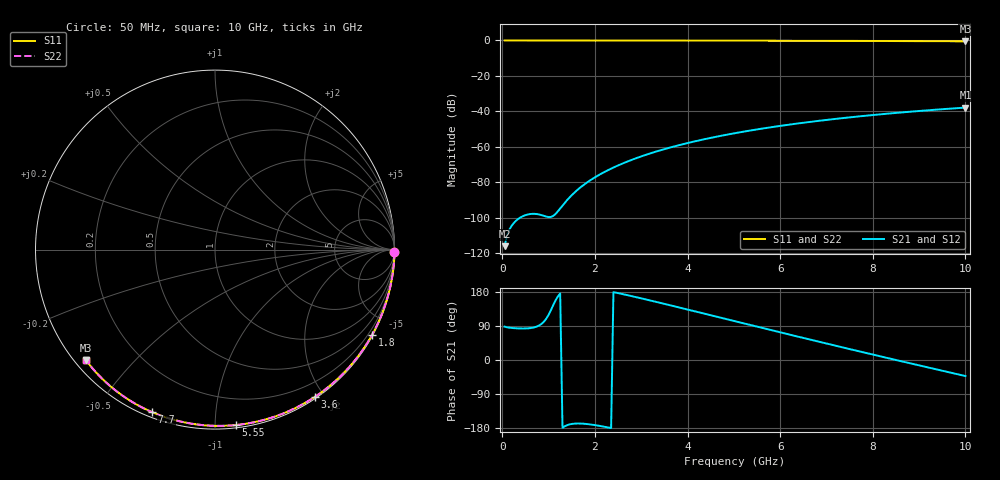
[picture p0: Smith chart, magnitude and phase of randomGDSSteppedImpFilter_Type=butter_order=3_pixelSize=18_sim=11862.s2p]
! freq	dB(S11)	phase(S11)	dB(S12)	phase(S12)
!  dB(S21)	phase(S21)	dB(S22)	phase(S22)
!S-par simulation data
#  GHz  S  DB  R 50
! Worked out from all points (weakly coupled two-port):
!   200 points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, 50 MHz to 10 GHz, reference 50 ohm
!   highest |S21| = -37.82 dB at 10 GHz (marker M1); lowest = -115.9 dB at 50 MHz (marker M2)
!   lowest |S11| = -0.5 dB at 10 GHz (marker M3), VSWR 36.78, Z = 1.55 - j18.5 ohm
!   |S11| at or under -10 dB: nowhere
!   |S22| runs from -0.5 to 0.0 dB; largest |S21 - S12| = 0
!   S11 on the Smith chart (normalised r, x): 50 MHz: open; 1.8 GHz: 0.03, -3.93; 3.6 GHz: 0.02, -1.89; 5.55 GHz: 0.02, -1.13; 7.7 GHz: 0.02, -0.69; 10 GHz: 0.03, -0.37
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0.05  -0.00 -0.8  -115.89 88.0  -115.89 88.0  -0.00 -0.8
0.45  -0.01 -7.3  -98.92 83.1  -98.92 83.1  -0.01 -7.3
0.9  -0.02 -14.4  -98.82 101.3  -98.82 101.3  -0.02 -14.4
1.75  -0.04 -27.8  -81.52 -168.1  -81.52 -168.1  -0.04 -27.8
1.8  -0.04 -28.6  -80.56 -168.7  -80.56 -168.7  -0.04 -28.6
1.85  -0.04 -29.4  -79.64 -169.3  -79.64 -169.3  -0.04 -29.4
2.05  -0.04 -32.5  -76.34 -172.8  -76.34 -172.8  -0.04 -32.5
2.25  -0.05 -35.5  -73.49 -177.2  -73.49 -177.2  -0.05 -35.5
2.55  -0.05 -40.1  -69.84 175.2  -69.84 175.2  -0.05 -40.1
2.95  -0.06 -46.2  -65.78 164.2  -65.78 164.2  -0.06 -46.2
3.4  -0.07 -52.9  -61.98 151.1  -61.98 151.1  -0.07 -52.9
3.6  -0.08 -55.8  -60.49 145.2  -60.49 145.2  -0.08 -55.8
3.9  -0.08 -60.2  -58.44 136.2  -58.44 136.2  -0.08 -60.2
4.3  -0.09 -65.9  -56.00 124.2  -56.00 124.2  -0.09 -65.9
5.05  -0.12 -76.4  -52.11 101.6  -52.11 101.6  -0.12 -76.4
5.55  -0.14 -83.3  -49.90 86.6  -49.90 86.6  -0.14 -83.3
6.1  -0.16 -90.6  -47.76 70.1  -47.76 70.1  -0.16 -90.6
6.7  -0.19 -98.4  -45.70 52.3  -45.70 52.3  -0.19 -98.4
7.7  -0.25 -111.1  -42.79 23.0  -42.79 23.0  -0.25 -111.1
8.35  -0.31 -119.2  -41.17 4.3  -41.17 4.3  -0.31 -119.2
9.2  -0.38 -129.6  -39.32 -19.9  -39.32 -19.9  -0.38 -129.6
10  -0.47 -139.4  -37.82 -42.3  -37.82 -42.3  -0.47 -139.4
